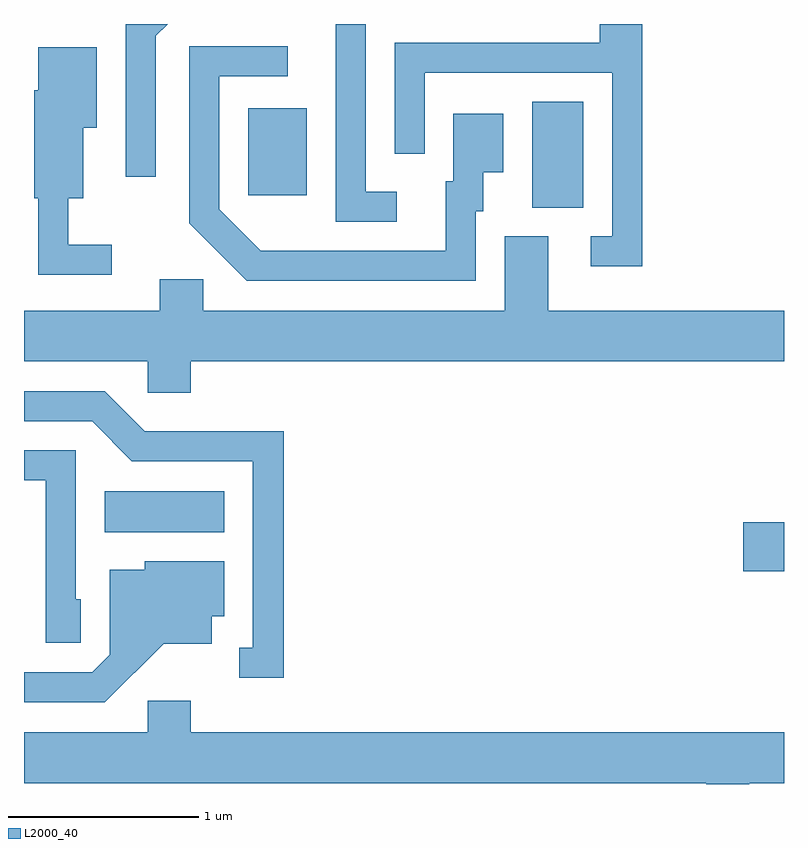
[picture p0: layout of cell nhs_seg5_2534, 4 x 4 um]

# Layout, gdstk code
import gdstk
lib = gdstk.Library(unit=1e-6, precision=1e-09)
def R(c, l, rs):  # rectangles x0, y0, x1, y1
    for r in rs: c.add(gdstk.rectangle(r[:2], r[2:], *l))
def P(c, l, *ps):  # polygons
    for p in ps: c.add(gdstk.Polygon(p, *l))
L2000_40 = (2000, 40)

nhs_seg5_2534 = lib.new_cell('nhs_seg5_2534')
R(nhs_seg5_2534, L2000_40, [(263.396,1511.191,263.611,1511.449), (260.036,1511.396,260.664,1511.614), (262.286,1513.106,262.554,1513.664), (260.791,1513.171,261.099,1513.629)])
P(nhs_seg5_2534, L2000_40, [(262.864,1514.072),(262.641,1514.072),(262.641,1513.974),(261.561,1513.974),(261.561,1513.388),(261.719,1513.388),(261.719,1513.816),(262.706,1513.816),(262.706,1512.954),(262.593,1512.954),(262.593,1512.796),(262.864,1512.796)],
  [(261.573,1513.189),(261.409,1513.189),(261.409,1514.072),(261.251,1514.072),(261.251,1513.031),(261.573,1513.031)],
  [(260.304,1514.009),(260.367,1514.072),(260.146,1514.072),(260.146,1513.268),(260.304,1513.268)],
  [(261.989,1513.086),(262.029,1513.086),(262.029,1513.291),(262.134,1513.291),(262.134,1513.599),(261.871,1513.599),(261.871,1513.244),(261.831,1513.244),(261.831,1512.879),(260.856,1512.879),(260.639,1513.097),(260.639,1513.796),(260.998,1513.796),(260.998,1513.954),(260.481,1513.954),(260.481,1513.024),(260.784,1512.721),(261.989,1512.721)],
  [(260.073,1512.909),(259.844,1512.909),(259.844,1513.156),(259.924,1513.156),(259.924,1513.526),(259.994,1513.526),(259.994,1513.949),(259.686,1513.949),(259.686,1513.724),(259.666,1513.724),(259.666,1513.156),(259.686,1513.156),(259.686,1512.751),(260.073,1512.751)],
  [(260.489,1512.296),(263.611,1512.296),(263.611,1512.564),(262.369,1512.564),(262.369,1512.954),(262.141,1512.954),(262.141,1512.564),(260.554,1512.564),(260.554,1512.729),(260.326,1512.729),(260.326,1512.564),(259.611,1512.564),(259.611,1512.296),(260.261,1512.296),(260.261,1512.131),(260.489,1512.131)],
  [(260.979,1511.929),(260.247,1511.929),(260.037,1512.139),(259.611,1512.139),(259.611,1511.981),(259.969,1511.981),(260.179,1511.771),(260.816,1511.771),(260.816,1510.789),(260.743,1510.789),(260.743,1510.631),(260.979,1510.631)],
  [(259.909,1511.044),(259.884,1511.044),(259.884,1511.829),(259.611,1511.829),(259.611,1511.671),(259.726,1511.671),(259.726,1510.816),(259.909,1510.816)],
  [(260.347,1510.811),(260.599,1510.811),(260.599,1510.956),(260.664,1510.956),(260.664,1511.244),(260.246,1511.244),(260.246,1511.199),(260.061,1511.199),(260.061,1510.752),(259.969,1510.659),(259.611,1510.659),(259.611,1510.501),(260.037,1510.501)],
  [(263.429,1510.076),(263.611,1510.076),(263.611,1510.344),(260.489,1510.344),(260.489,1510.509),(260.261,1510.509),(260.261,1510.344),(259.611,1510.344),(259.611,1510.076),(263.201,1510.076),(263.201,1510.072),(263.429,1510.072)])

lib.write_gds('nhs_seg5_2534.gds')
